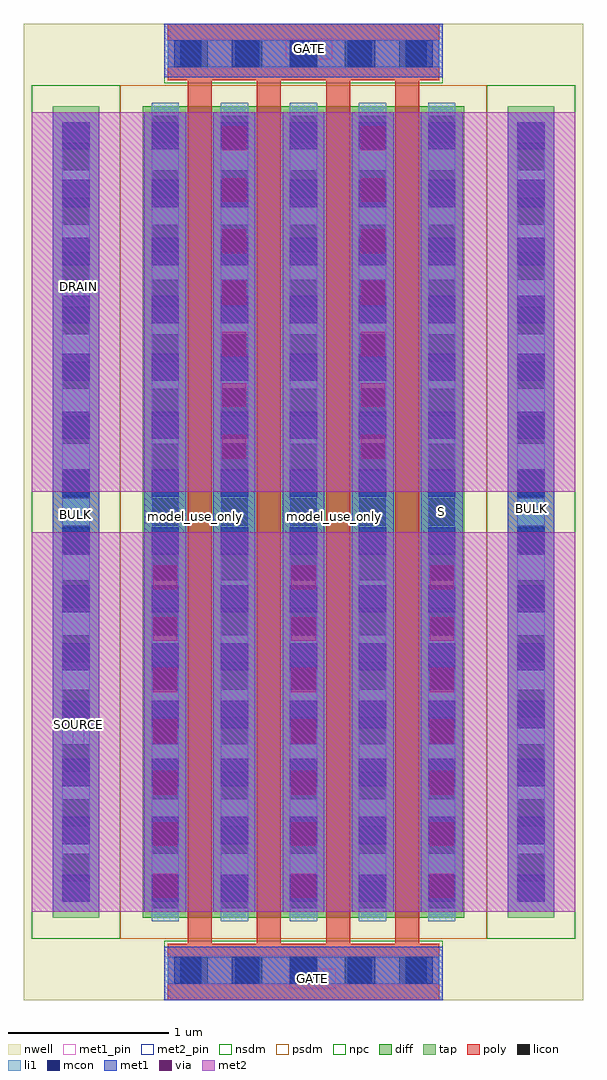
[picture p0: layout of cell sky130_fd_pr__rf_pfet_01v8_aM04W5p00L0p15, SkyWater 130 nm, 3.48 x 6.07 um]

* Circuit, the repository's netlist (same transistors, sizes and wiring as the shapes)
* Copyright 2020 The SkyWater PDK Authors
*
* Licensed under the Apache License, Version 2.0 (the "License");
* you may not use this file except in compliance with the License.
* You may obtain a copy of the License at
*
*     https://www.apache.org/licenses/LICENSE-2.0
*
* Unless required by applicable law or agreed to in writing, software
* distributed under the License is distributed on an "AS IS" BASIS,
* WITHOUT WARRANTIES OR CONDITIONS OF ANY KIND, either express or implied.
* See the License for the specific language governing permissions and
* limitations under the License.
*
* SPDX-License-Identifier: Apache-2.0


.subckt sky130_fd_pr__rf_pfet_01v8_aM04W5p00L0p15 BULK DRAIN GATE SOURCE
X0 DRAIN GATE SOURCE BULK sky130_fd_pr__pfet_01v8 w=5.05e+06u l=150000u
X1 SOURCE GATE DRAIN BULK sky130_fd_pr__pfet_01v8 w=5.05e+06u l=150000u
X2 SOURCE GATE DRAIN BULK sky130_fd_pr__pfet_01v8 w=5.05e+06u l=150000u
X3 DRAIN GATE SOURCE BULK sky130_fd_pr__pfet_01v8 w=5.05e+06u l=150000u
.ends

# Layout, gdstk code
import gdstk
lib = gdstk.Library(unit=1e-6, precision=1e-09)
def R(c, l, rs):  # rectangles x0, y0, x1, y1
    for r in rs: c.add(gdstk.rectangle(r[:2], r[2:], *l))
def A(c, l, x, y, w, h, nx, ny, dx, dy):  # array of equal rectangles
    R(c, l, [(x+i*dx, y+j*dy, x+i*dx+w, y+j*dy+h) for i in range(nx) for j in range(ny)])
nwell = (64, 20)
diff = (65, 20)
tap = (65, 44)
poly = (66, 20)
licon = (66, 44)
li1 = (67, 20)
mcon = (67, 44)
met1_pin = (68, 16)
met1 = (68, 20)
via = (68, 44)
met2_pin = (69, 16)
met2 = (69, 20)
nsdm = (93, 44)
psdm = (94, 20)
npc = (95, 20)

sky130_fd_pr__rf_pfet_01 = lib.new_cell('sky130_fd_pr__rf_pfet_01v8_aM04W5p00L0p15')
R(sky130_fd_pr__rf_pfet_01, nwell, [(0,0,3.48,6.07)])
R(sky130_fd_pr__rf_pfet_01, diff, [(0.74,0.51,2.74,5.56)])
R(sky130_fd_pr__rf_pfet_01, tap, [(0.18,0.51,0.47,5.56), (3.01,0.51,3.3,5.56)])
A(sky130_fd_pr__rf_pfet_01, poly, 1.02, 0.35, 0.15, 5.37, 4, 1, 0.43, 0)
R(sky130_fd_pr__rf_pfet_01, poly, [(0.895,0,2.585,0.35), (0.895,5.72,2.585,6.07)])
A(sky130_fd_pr__rf_pfet_01, licon, 0.975, 0.1, 0.17, 0.17, 5, 2, 0.34, 5.7)
A(sky130_fd_pr__rf_pfet_01, licon, 0.795, 0.57, 0.17, 0.17, 5, 15, 0.43, 0.34)
A(sky130_fd_pr__rf_pfet_01, licon, 0.24, 0.74, 0.17, 0.17, 1, 14, 0, 0.34)
A(sky130_fd_pr__rf_pfet_01, licon, 3.07, 0.74, 0.17, 0.17, 1, 14, 0, 0.34)
A(sky130_fd_pr__rf_pfet_01, li1, 0.795, 0.49, 0.17, 5.09, 5, 1, 0.43, 0)
A(sky130_fd_pr__rf_pfet_01, li1, 0.795, 1.69, 0.17, 2.69, 5, 1, 0.43, 0)
R(sky130_fd_pr__rf_pfet_01, li1, [(0.895,0.1,2.585,0.27), (0.935,0.1,2.545,0.27), (0.24,0.61,0.41,5.46), (3.07,0.61,3.24,5.46), (0.24,0.66,0.41,5.41), (3.07,0.66,3.24,5.41), (0.24,1.68,0.41,4.39), (3.07,1.68,3.24,4.39), (0.895,5.8,2.585,5.97), (0.935,5.8,2.545,5.97)])
A(sky130_fd_pr__rf_pfet_01, mcon, 0.935, 0.1, 0.17, 0.17, 5, 2, 0.36, 5.7)
A(sky130_fd_pr__rf_pfet_01, mcon, 0.24, 0.61, 0.17, 0.17, 1, 14, 0, 0.36)
A(sky130_fd_pr__rf_pfet_01, mcon, 0.795, 0.61, 0.17, 0.17, 5, 14, 0.43, 0.36)
A(sky130_fd_pr__rf_pfet_01, mcon, 3.07, 0.61, 0.17, 0.17, 1, 14, 0, 0.36)
R(sky130_fd_pr__rf_pfet_01, met1_pin, [(1.65,0.07,1.94,0.195), (0.24,2.99,0.41,3.045), (3.07,3.025,3.24,3.08), (1.63,5.85,1.92,5.975)])
A(sky130_fd_pr__rf_pfet_01, met1, 0.75, 0.55, 0.26, 4.97, 5, 1, 0.43, 0)
A(sky130_fd_pr__rf_pfet_01, met1, 0.75, 0.55, 0.26, 2.24, 3, 1, 0.86, 0)
R(sky130_fd_pr__rf_pfet_01, met1, [(0.875,0,2.605,0.33), (0.18,0.55,0.47,5.52), (3.01,0.55,3.3,5.52), (1.18,3.28,1.44,5.52), (2.04,3.28,2.3,5.52), (0.875,5.74,2.605,6.07)])
A(sky130_fd_pr__rf_pfet_01, via, 0.805, 0.635, 0.15, 0.15, 3, 7, 0.86, 0.32)
A(sky130_fd_pr__rf_pfet_01, via, 1.235, 3.365, 0.15, 0.15, 1, 7, 0, 0.32)
A(sky130_fd_pr__rf_pfet_01, via, 2.095, 3.365, 0.15, 0.15, 1, 7, 0, 0.32)
R(sky130_fd_pr__rf_pfet_01, met2_pin, [(0.305,1.555,0.375,1.87), (0.3,4.275,0.375,4.605)])
A(sky130_fd_pr__rf_pfet_01, met2, 0.75, 0.55, 0.26, 2.24, 3, 1, 0.86, 0)
R(sky130_fd_pr__rf_pfet_01, met2, [(0.05,0.55,3.43,2.91), (0.05,3.16,3.43,5.52), (1.18,3.28,1.44,5.52), (2.04,3.28,2.3,5.52)])
R(sky130_fd_pr__rf_pfet_01, nsdm, [(0.05,0.38,0.6,5.69), (2.88,0.38,3.43,5.69)])
R(sky130_fd_pr__rf_pfet_01, psdm, [(0.6,0.38,2.88,5.69)])
R(sky130_fd_pr__rf_pfet_01, npc, [(0.875,0,2.605,0.37), (0.875,5.7,2.605,6.07)])
sky130_fd_pr__rf_pfet_01.add(gdstk.Label('model_use_only', (1.07,3.01), layer=66, texttype=83))
sky130_fd_pr__rf_pfet_01.add(gdstk.Label('model_use_only', (1.5,3.01), layer=66, texttype=83))
sky130_fd_pr__rf_pfet_01.add(gdstk.Label('model_use_only', (1.93,3.01), layer=66, texttype=83))
sky130_fd_pr__rf_pfet_01.add(gdstk.Label('model_use_only', (2.36,3.01), layer=66, texttype=83))
sky130_fd_pr__rf_pfet_01.add(gdstk.Label('S', (2.6,3.035), layer=83, texttype=44))
sky130_fd_pr__rf_pfet_01.add(gdstk.Label('D', (2.17,3.035), layer=83, texttype=44))
sky130_fd_pr__rf_pfet_01.add(gdstk.Label('S', (1.74,3.035), layer=83, texttype=44))
sky130_fd_pr__rf_pfet_01.add(gdstk.Label('D', (1.31,3.035), layer=83, texttype=44))
sky130_fd_pr__rf_pfet_01.add(gdstk.Label('S', (0.88,3.035), layer=83, texttype=44))
sky130_fd_pr__rf_pfet_01.add(gdstk.Label('S', (0.88,3.035), layer=83, texttype=44))
sky130_fd_pr__rf_pfet_01.add(gdstk.Label('S', (1.31,3.035), layer=83, texttype=44))
sky130_fd_pr__rf_pfet_01.add(gdstk.Label('S', (1.74,3.035), layer=83, texttype=44))
sky130_fd_pr__rf_pfet_01.add(gdstk.Label('S', (2.17,3.035), layer=83, texttype=44))
sky130_fd_pr__rf_pfet_01.add(gdstk.Label('GATE', (1.775,5.915), layer=68, texttype=5))
sky130_fd_pr__rf_pfet_01.add(gdstk.Label('GATE', (1.795,0.135), layer=68, texttype=5))
sky130_fd_pr__rf_pfet_01.add(gdstk.Label('BULK', (3.155,3.055), layer=68, texttype=5))
sky130_fd_pr__rf_pfet_01.add(gdstk.Label('BULK', (0.325,3.02), layer=68, texttype=5))
sky130_fd_pr__rf_pfet_01.add(gdstk.Label('DRAIN', (0.34,4.44), layer=69, texttype=5))
sky130_fd_pr__rf_pfet_01.add(gdstk.Label('SOURCE', (0.34,1.715), layer=69, texttype=5))

lib.write_gds('sky130_fd_pr__rf_pfet_01v8_aM04W5p00L0p15.gds')
